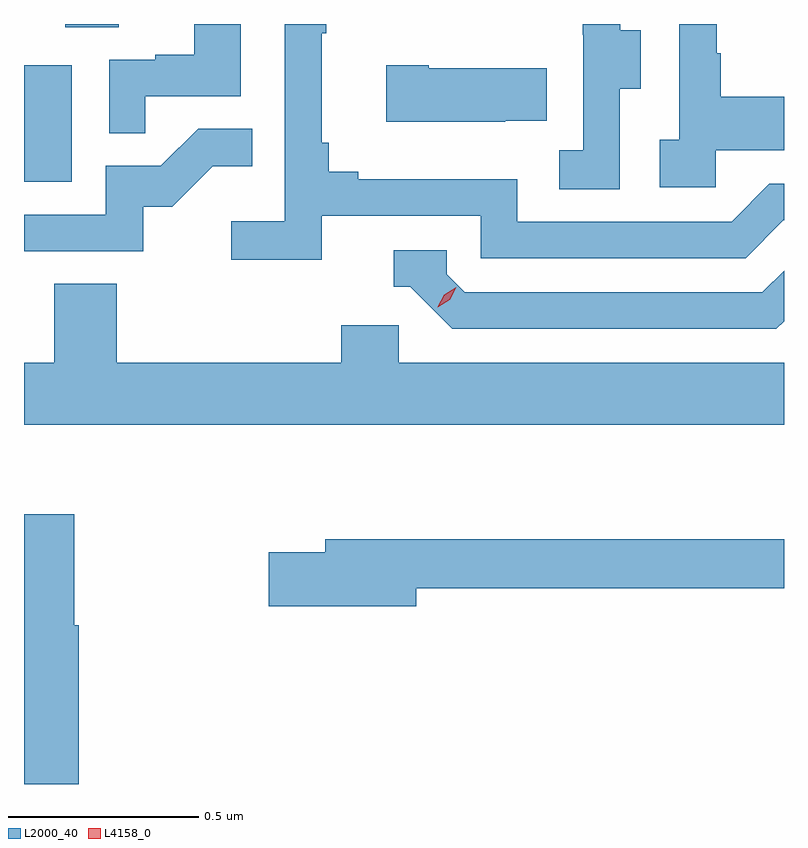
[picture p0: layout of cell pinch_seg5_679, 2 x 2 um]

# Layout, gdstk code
import gdstk
lib = gdstk.Library(unit=1e-6, precision=1e-09)
def R(c, l, rs):  # rectangles x0, y0, x1, y1
    for r in rs: c.add(gdstk.rectangle(r[:2], r[2:], *l))
def P(c, l, *ps):  # polygons
    for p in ps: c.add(gdstk.Polygon(p, *l))
L2000_40 = (2000, 40)
L4158_0 = (4158, 0)

pinch_seg5_679 = lib.new_cell('pinch_seg5_679')
R(pinch_seg5_679, L2000_40, [(1035.154,837.42,1035.28,837.727), (1035.263,837.826,1035.403,837.835)])
P(pinch_seg5_679, L2000_40, [(1035.938,837.33),(1036.356,837.33),(1036.356,837.219),(1037.053,837.219),(1037.152,837.318),(1037.154,837.318),(1037.154,837.414),(1037.115,837.414),(1037.016,837.315),(1036.452,837.315),(1036.452,837.427),(1036.033,837.427),(1036.033,837.446),(1035.956,837.446),(1035.956,837.523),(1035.937,837.523),(1035.937,837.811),(1035.949,837.811),(1035.949,837.835),(1035.84,837.835),(1035.84,837.316),(1035.699,837.316),(1035.699,837.214),(1035.938,837.214)],
  [(1036.974,837.503),(1037.154,837.503),(1037.154,837.643),(1036.987,837.643),(1036.987,837.758),(1036.977,837.758),(1036.977,837.835),(1036.878,837.835),(1036.878,837.53),(1036.827,837.53),(1036.827,837.405),(1036.974,837.405)],
  [(1036.722,837.664),(1036.777,837.664),(1036.777,837.819),(1036.723,837.819),(1036.723,837.835),(1036.625,837.835),(1036.625,837.807),(1036.626,837.807),(1036.626,837.503),(1036.563,837.503),(1036.563,837.4),(1036.722,837.4)],
  [(1035.473,837.645),(1035.724,837.645),(1035.724,837.835),(1035.602,837.835),(1035.602,837.754),(1035.499,837.754),(1035.499,837.741),(1035.378,837.741),(1035.378,837.547),(1035.473,837.547)],
  [(1036.421,837.581),(1036.529,837.581),(1036.529,837.718),(1036.219,837.718),(1036.219,837.726),(1036.107,837.726),(1036.107,837.578),(1036.421,837.578)],
  [(1035.468,837.354),(1035.544,837.354),(1035.651,837.461),(1035.755,837.461),(1035.755,837.56),(1035.612,837.56),(1035.514,837.462),(1035.369,837.462),(1035.369,837.333),(1035.154,837.333),(1035.154,837.237),(1035.468,837.237)],
  [(1037.154,837.053),(1037.154,837.186),(1037.097,837.129),(1036.314,837.129),(1036.266,837.177),(1036.266,837.24),(1036.127,837.24),(1036.127,837.144),(1036.17,837.144),(1036.281,837.033),(1037.134,837.033)],
  [(1037.154,836.944),(1036.14,836.944),(1036.14,837.042),(1035.989,837.042),(1035.989,836.944),(1035.398,836.944),(1035.398,837.152),(1035.233,837.152),(1035.233,836.944),(1035.154,836.944),(1035.154,836.78),(1037.154,836.78)],
  [(1035.298,836.253),(1035.286,836.253),(1035.286,836.545),(1035.154,836.545),(1035.154,835.835),(1035.298,835.835)],
  [(1036.186,836.35),(1037.154,836.35),(1037.154,836.479),(1035.947,836.479),(1035.947,836.445),(1035.798,836.445),(1035.798,836.303),(1036.186,836.303)])
P(pinch_seg5_679, L4158_0, [(1036.243,837.09),(1036.243,837.091),(1036.26,837.123),(1036.291,837.142),(1036.291,837.142),(1036.291,837.142),(1036.274,837.109),(1036.243,837.09)])

lib.write_gds('pinch_seg5_679.gds')
